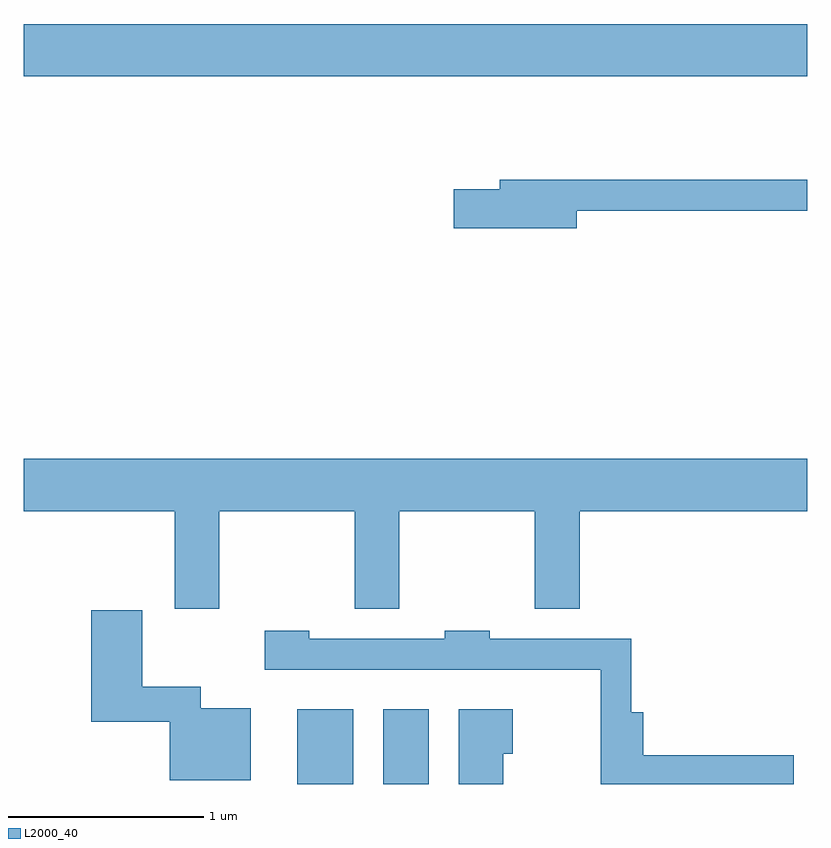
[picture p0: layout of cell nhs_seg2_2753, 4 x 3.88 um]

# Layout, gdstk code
import gdstk
lib = gdstk.Library(unit=1e-6, precision=1e-09)
def R(c, l, rs):  # rectangles x0, y0, x1, y1
    for r in rs: c.add(gdstk.rectangle(r[:2], r[2:], *l))
def P(c, l, *ps):  # polygons
    for p in ps: c.add(gdstk.Polygon(p, *l))
L2000_40 = (2000, 40)

nhs_seg2_2753 = lib.new_cell('nhs_seg2_2753')
R(nhs_seg2_2753, L2000_40, [(267.006,1055.802,267.294,1056.184), (267.446,1055.802,267.679,1056.184), (265.611,1059.416,269.611,1059.684)])
P(nhs_seg2_2753, L2000_40, [(268.434,1058.731),(269.611,1058.731),(269.611,1058.889),(268.041,1058.889),(268.041,1058.839),(267.806,1058.839),(267.806,1058.641),(268.434,1058.641)],
  [(266.609,1057.196),(267.301,1057.196),(267.301,1056.696),(267.529,1056.696),(267.529,1057.196),(268.221,1057.196),(268.221,1056.696),(268.449,1056.696),(268.449,1057.196),(269.611,1057.196),(269.611,1057.464),(265.611,1057.464),(265.611,1057.196),(266.381,1057.196),(266.381,1056.696),(266.609,1056.696)],
  [(266.769,1056.189),(266.514,1056.189),(266.514,1056.299),(266.214,1056.299),(266.214,1056.689),(265.956,1056.689),(265.956,1056.121),(266.356,1056.121),(266.356,1055.821),(266.769,1055.821)],
  [(269.544,1055.949),(268.774,1055.949),(268.774,1056.169),(268.714,1056.169),(268.714,1056.544),(267.989,1056.544),(267.989,1056.584),(267.761,1056.584),(267.761,1056.544),(267.069,1056.544),(267.069,1056.584),(266.841,1056.584),(266.841,1056.386),(268.556,1056.386),(268.556,1055.802),(269.544,1055.802)],
  [(268.059,1055.956),(268.109,1055.956),(268.109,1056.184),(267.831,1056.184),(267.831,1055.802),(268.059,1055.802)])

lib.write_gds('nhs_seg2_2753.gds')
